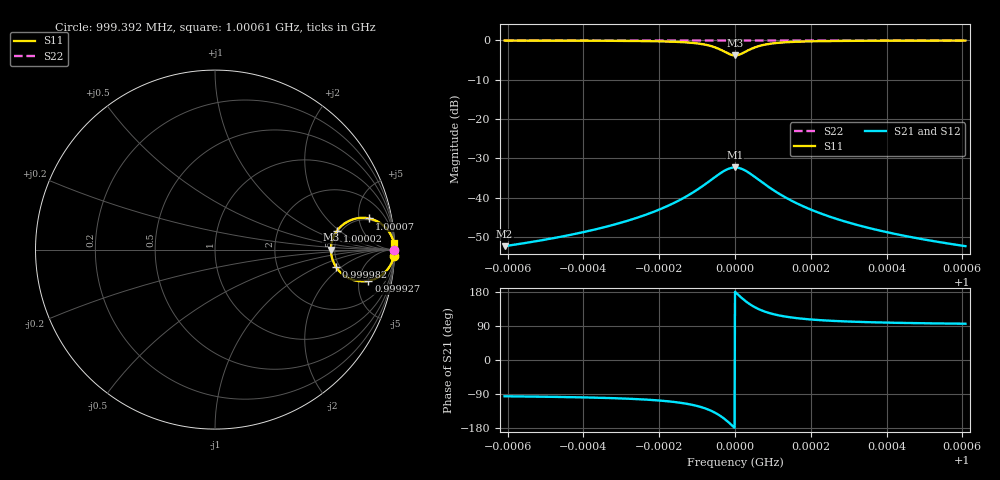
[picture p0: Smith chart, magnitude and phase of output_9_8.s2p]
! File generated for n1 = 9, n2 = 8
! b1 = 0.215443
! b2 = 0.001000
! Q0 = 10000.000000
! f0 = 1000000000.000000
! n = 1001
! rel_span = 10.000000
# Hz S RI R 50
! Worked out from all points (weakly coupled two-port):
!   1001 points, 999.392 MHz to 1.00061 GHz, reference 50 ohm
!   highest |S21| = -32.35 dB at 1 GHz (marker M1); lowest = -52.4 dB at 999.392 MHz (marker M2)
!   lowest |S11| = -3.8 dB at 1 GHz (marker M3), VSWR 4.65, Z = 232 + j0 ohm
!   |S11| at or under -10 dB: nowhere
!   |S22| runs from 0.0 to 0.0 dB; largest |S21 - S12| = 0
!   S11 on the Smith chart (normalised r, x): 999.392 MHz: 5, -56; 999.927 MHz: 4.65, -6.78; 999.982 MHz: 4.65, -1.69; 1.00002 GHz: 4.65, +1.81; 1.00007 GHz: 4.65, +6.89; 1.00061 GHz: 5, +56
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9.993918e8  0.9965 -0.0351  -0.000239 -0.00239  -0.000239 -0.00239  1 -0.000163
9.994964e8  0.9949 -0.0422  -0.000347 -0.00287  -0.000347 -0.00287  1 -0.000196
9.995949e8  0.9922 -0.052  -0.000532 -0.00354  -0.000532 -0.00354  1 -0.000241
9.997068e8  0.9854 -0.0704  -0.000996 -0.0048  -0.000996 -0.0048  0.9999 -0.000327
9.997981e8  0.9705 -0.0978  -0.00201 -0.00666  -0.00201 -0.00666  0.9999 -0.000454
9.998759e8  0.9314 -0.14  -0.00467 -0.00954  -0.00467 -0.00954  0.9997 -0.00065
9.999039e8  0.8987 -0.1601  -0.0069 -0.0109  -0.0069 -0.0109  0.9995 -0.000743
9.99927e8  0.8548 -0.1742  -0.00989 -0.0119  -0.00989 -0.0119  0.9993 -0.000809
9.999574e8  0.7623 -0.1664  -0.0162 -0.0113  -0.0162 -0.0113  0.9989 -0.000772
9.999696e8  0.7166 -0.1417  -0.0193 -0.00965  -0.0193 -0.00965  0.9987 -0.000658
9.999818e8  0.675 -0.0975  -0.0221 -0.00664  -0.0221 -0.00664  0.9985 -0.000453
1e9  0.6458 0  -0.0241 0  -0.0241 0  0.9984 0
1.000019e9  0.6787 0.1028  -0.0219 0.00701  -0.0219 0.00701  0.9985 0.000477
1.000043e9  0.7623 0.1664  -0.0162 0.0113  -0.0162 0.0113  0.9989 0.000772
1.000074e9  0.8576 0.1737  -0.0097 0.0118  -0.0097 0.0118  0.9993 0.000806
1.000097e9  0.9005 0.1592  -0.00678 0.0108  -0.00678 0.0108  0.9995 0.000739
1.000125e9  0.9324 0.1392  -0.0046 0.00948  -0.0046 0.00948  0.9997 0.000646
1.000203e9  0.9709 0.0973  -0.00199 0.00663  -0.00199 0.00663  0.9999 0.000452
1.000294e9  0.9855 0.0702  -0.000988 0.00478  -0.000988 0.00478  0.9999 0.000326
1.000406e9  0.9922 0.0519  -0.000529 0.00353  -0.000529 0.00353  1 0.000241
1.000505e9  0.9949 0.0421  -0.000345 0.00287  -0.000345 0.00287  1 0.000195
1.000608e9  0.9965 0.0351  -0.000239 0.00239  -0.000239 0.00239  1 0.000163
